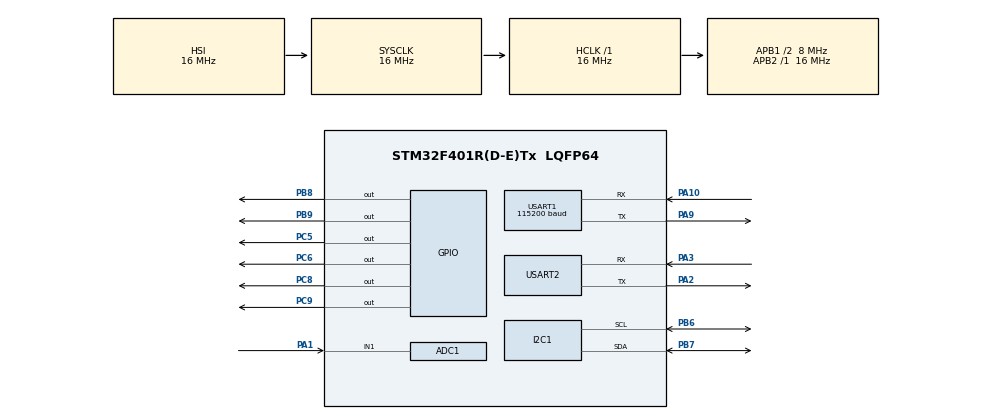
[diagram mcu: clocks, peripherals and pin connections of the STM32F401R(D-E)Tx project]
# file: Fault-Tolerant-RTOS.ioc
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ADC1.Channel-3\#ChannelRegularConversion=ADC_CHANNEL_1
ADC1.NbrOfConversionFlag=1
ADC1.Rank-3\#ChannelRegularConversion=1
ADC1.SamplingTime-3\#ChannelRegularConversion=ADC_SAMPLETIME_3CYCLES
ADC1.master=1
Dma.ADC1.0.Direction=DMA_PERIPH_TO_MEMORY
Dma.ADC1.0.FIFOMode=DMA_FIFOMODE_DISABLE
Dma.ADC1.0.Instance=DMA2_Stream0
Dma.ADC1.0.MemDataAlignment=DMA_MDATAALIGN_HALFWORD
Dma.ADC1.0.MemInc=DMA_MINC_DISABLE
Dma.ADC1.0.Mode=DMA_NORMAL
Dma.ADC1.0.PeriphDataAlignment=DMA_PDATAALIGN_HALFWORD
Dma.ADC1.0.PeriphInc=DMA_PINC_DISABLE
Dma.ADC1.0.Priority=DMA_PRIORITY_LOW
Dma.I2C1_RX.1.Direction=DMA_PERIPH_TO_MEMORY
Dma.I2C1_RX.1.FIFOMode=DMA_FIFOMODE_DISABLE
Dma.I2C1_RX.1.Instance=DMA1_Stream0
Dma.I2C1_RX.1.MemDataAlignment=DMA_MDATAALIGN_BYTE
Dma.I2C1_RX.1.MemInc=DMA_MINC_ENABLE
Dma.I2C1_RX.1.Mode=DMA_NORMAL
Dma.I2C1_RX.1.PeriphDataAlignment=DMA_PDATAALIGN_BYTE
Dma.I2C1_RX.1.PeriphInc=DMA_PINC_DISABLE
Dma.I2C1_RX.1.Priority=DMA_PRIORITY_LOW
Dma.Request0=ADC1
Dma.Request1=I2C1_RX
IWDG.Prescaler=IWDG_PRESCALER_8
Mcu.Family=STM32F4
Mcu.Name=STM32F401R(D-E)Tx
Mcu.Package=LQFP64
NVIC.DMA1_Stream0_IRQn=true\:7\:0\:true\:false\:true\:false\:true\:true
NVIC.DMA2_Stream0_IRQn=true\:9\:0\:true\:false\:true\:false\:true\:true
NVIC.PriorityGroup=NVIC_PRIORITYGROUP_4
NVIC.TIM5_IRQn=true\:0\:0\:false\:false\:true\:false\:true\:true
NVIC.TimeBase=TIM5_IRQn
NVIC.TimeBaseIP=TIM5
NVIC.USART1_IRQn=true\:9\:0\:true\:false\:true\:true\:true\:true
NVIC.USART2_IRQn=true\:6\:0\:true\:false\:true\:true\:true\:true
PA1.Signal=ADCx_IN1
PA10.Mode=Asynchronous
PA10.Signal=USART1_RX
PA2.Mode=Asynchronous
PA2.Signal=USART2_TX
PA3.Mode=Asynchronous
PA3.Signal=USART2_RX
PA9.Mode=Asynchronous
PA9.Signal=USART1_TX
PB6.Mode=I2C
PB6.Signal=I2C1_SCL
PB7.Mode=I2C
PB7.Signal=I2C1_SDA
PB8.Signal=GPIO_Output
PB9.Signal=GPIO_Output
PC5.Signal=GPIO_Output
PC6.Signal=GPIO_Output
PC8.Signal=GPIO_Output
PC9.Signal=GPIO_Output
ProjectManager.HeapSize=0x200
ProjectManager.StackSize=0x400
ProjectManager.TargetToolchain=STM32CubeIDE
RCC.AHBFreq_Value=16000000
RCC.APB1CLKDivider=RCC_HCLK_DIV2
RCC.APB1Freq_Value=8000000
RCC.APB1TimFreq_Value=16000000
RCC.APB2Freq_Value=16000000
RCC.APB2TimFreq_Value=16000000
RCC.CortexFreq_Value=16000000
RCC.HCLKFreq_Value=16000000
RCC.HSE_VALUE=8000000
RCC.HSI_VALUE=16000000
RCC.LSE_VALUE=32768
RCC.PLLN=336
RCC.PLLP=RCC_PLLP_DIV4
RCC.PLLQ=7
RCC.SYSCLKFreq_VALUE=16000000
RCC.VCOOutputFreq_Value=336000000
SH.ADCx_IN1.0=ADC1_IN1,IN1
USART1.BaudRate=115200
USART1.VirtualMode=VM_ASYNC
USART2.VirtualMode=VM_ASYNC
VP_IWDG_VS_IWDG.Mode=IWDG_Activate
VP_SYS_VS_tim5.Mode=TIM5
board=NUCLEO-F401RE

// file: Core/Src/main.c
/* USER CODE BEGIN Header */
/**
  ******************************************************************************
  * @file           : main.c
  * @brief          : Main program body
  ******************************************************************************
  * @attention
  *
  * Copyright (c) 2025 STMicroelectronics.
  * All rights reserved.
  *
  * This software is licensed under terms that can be found in the LICENSE file
  * in the root directory of this software component.
  * If no LICENSE file comes with this software, it is provided AS-IS.
  *
  ******************************************************************************
  */
/* USER CODE END Header */
#include "main.h"

/* USER CODE BEGIN Includes */
#include "FreeRTOS.h"
#include "task.h"
#include "queue.h"
#include "semphr.h"
#include "consumer.h"
#include "adc_sensor.h"
#include "mpu6050.h"
#include "uart_device.h"
#include "app_tasks.h"
#include "event_groups.h"
#include <string.h>
/* USER CODE END Includes */

ADC_HandleTypeDef hadc1;
DMA_HandleTypeDef hdma_adc1;

I2C_HandleTypeDef hi2c1;
DMA_HandleTypeDef hdma_i2c1_rx;

IWDG_HandleTypeDef hiwdg;

UART_HandleTypeDef huart1;
UART_HandleTypeDef huart2;

/* USER CODE BEGIN PV */
extern MPU6050_t imu;
extern uint8_t uart_rx_buffer[UART_FRAME_SIZE];
extern char *uart_tx_buffer;

TaskHandle_t I2CSensorTask;
TaskHandle_t ADCSensorTask;
TaskHandle_t UARTReceiverTask;
TaskHandle_t ConsumerTask;
TaskHandle_t FlowControlTask;
TaskHandle_t FaultHandlerTask;
TaskHandle_t WatchDogTask;

QueueHandle_t adc_sensor_queue;
QueueHandle_t i2c_sensor_queue;
QueueHandle_t uart_receiver_queue;
QueueHandle_t consumer_data_info_queue;

EventGroupHandle_t wdog_event_group;

SemaphoreHandle_t arbitration_mutex;
SemaphoreHandle_t i2c_stack_usage_mutex;
SemaphoreHandle_t adc_stack_usage_mutex;
SemaphoreHandle_t uart_stack_usage_mutex;
SemaphoreHandle_t consumer_stack_usage_mutex;
SemaphoreHandle_t flow_control_stack_usage_mutex;
SemaphoreHandle_t fault_handler_stack_usage_mutex;
SemaphoreHandle_t watchdog_stack_usage_mutex;
SemaphoreHandle_t usart2_mutex;

float consumer_raw_data[1000];
/* USER CODE END PV */

void SystemClock_Config(void);
static void MX_GPIO_Init(void);
static void MX_DMA_Init(void);
static void MX_USART2_UART_Init(void);
static void MX_ADC1_Init(void);
static void MX_USART1_UART_Init(void);
static void MX_I2C1_Init(void);
static void MX_IWDG_Init(void);

int main(void)
{

  /* USER CODE BEGIN 1 */
  BaseType_t create_status = 0;
  __HAL_DBGMCU_FREEZE_TIM5();
  /* USER CODE END 1 */

  /* MCU Configuration--------------------------------------------------------*/

  /* Reset of all peripherals, Initializes the Flash interface and the Systick. */
  HAL_Init();

  /* Configure the system clock */
  SystemClock_Config();

  /* Initialize all configured peripherals */
  MX_GPIO_Init();
  MX_DMA_Init();
  MX_USART2_UART_Init();
  MX_ADC1_Init();
  MX_USART1_UART_Init();
  MX_I2C1_Init();
  MX_IWDG_Init();
  /* USER CODE BEGIN 2 */
  adc_sensor_queue = xQueueCreate(ADC_QUEUE_SIZE, sizeof(uint16_t));
  i2c_sensor_queue = xQueueCreate(I2C_QUEUE_SIZE, sizeof(imu_data_t));
  uart_receiver_queue = xQueueCreate(UART_QUEUE_SIZE, UART_FRAME_SIZE);

  arbitration_mutex = xSemaphoreCreateMutex();
  i2c_stack_usage_mutex = xSemaphoreCreateMutex();
  adc_stack_usage_mutex = xSemaphoreCreateMutex();
  uart_stack_usage_mutex = xSemaphoreCreateMutex();
  consumer_stack_usage_mutex = xSemaphoreCreateMutex();
  flow_control_stack_usage_mutex = xSemaphoreCreateMutex();
  fault_handler_stack_usage_mutex = xSemaphoreCreateMutex();
  watchdog_stack_usage_mutex = xSemaphoreCreateMutex();

  wdog_event_group =  xEventGroupCreate();
  MPU6050_Init(&imu);

  create_status = xTaskCreate(ADCSensorTaskHandler, "ADC Sensor Task", ADC_SENSOR_TASK_STACK_SIZE, NULL, 6, &ADCSensorTask);
  configASSERT(create_status == pdPASS);

  create_status = xTaskCreate(I2CSensorTaskHandler, "I2C Sensor Task", I2C_SENSOR_TASK_STACK_SIZE, NULL,5, &I2CSensorTask);
  configASSERT(create_status == pdPASS);

  create_status = xTaskCreate(UARTReceiverTaskHandler, "UART Receiver Task", UART_RECEIVER_TASK_STACK_SIZE, NULL, 4, &UARTReceiverTask);
  configASSERT(create_status == pdPASS);

  create_status = xTaskCreate(ConsumerTaskHandler, "Consumer Task", CONSUMER_TASK_STACK_SIZE, NULL, 8, &ConsumerTask);
  configASSERT(create_status == pdPASS);

  create_status = xTaskCreate(FlowControlTaskHandler, "Control Task", FLOW_CONTROL_TASK_STACK_SIZE, NULL, 3, &FlowControlTask);
  configASSERT(create_status == pdPASS);

  create_status = xTaskCreate(WatchDogTaskHandler, "Watchdog Task", WATCHDOG_TASK_STACK_SIZE, NULL, 7, &WatchDogTask);
  configASSERT(create_status == pdPASS);

  create_status = xTaskCreate(FaultTaskHandler, "Fault Handler Task", FAULT_HANDLER_TASK_STACK_SIZE, NULL,9, &FaultHandlerTask);
  configASSERT(create_status == pdPASS);

  vTaskStartScheduler();
  /* USER CODE END 2 */

  /* Infinite loop */
  while (1)
  {

  }
}

void SystemClock_Config(void)
{
  RCC_OscInitTypeDef RCC_OscInitStruct = {0};
  RCC_ClkInitTypeDef RCC_ClkInitStruct = {0};

  /** Configure the main internal regulator output voltage
  */
  __HAL_RCC_PWR_CLK_ENABLE();
  __HAL_PWR_VOLTAGESCALING_CONFIG(PWR_REGULATOR_VOLTAGE_SCALE2);

  /** Initializes the RCC Oscillators according to the specified parameters
  * in the RCC_OscInitTypeDef structure.
  */
  RCC_OscInitStruct.OscillatorType = RCC_OSCILLATORTYPE_HSI|RCC_OSCILLATORTYPE_LSI;
  RCC_OscInitStruct.HSIState = RCC_HSI_ON;
  RCC_OscInitStruct.HSICalibrationValue = RCC_HSICALIBRATION_DEFAULT;
  RCC_OscInitStruct.LSIState = RCC_LSI_ON;
  RCC_OscInitStruct.PLL.PLLState = RCC_PLL_NONE;
  if (HAL_RCC_OscConfig(&RCC_OscInitStruct) != HAL_OK)
  {
    Error_Handler();
  }

  /** Initializes the CPU, AHB and APB buses clocks
  */
  RCC_ClkInitStruct.ClockType = RCC_CLOCKTYPE_HCLK|RCC_CLOCKTYPE_SYSCLK
                              |RCC_CLOCKTYPE_PCLK1|RCC_CLOCKTYPE_PCLK2;
  RCC_ClkInitStruct.SYSCLKSource = RCC_SYSCLKSOURCE_HSI;
  RCC_ClkInitStruct.AHBCLKDivider = RCC_SYSCLK_DIV1;
  RCC_ClkInitStruct.APB1CLKDivider = RCC_HCLK_DIV2;
  RCC_ClkInitStruct.APB2CLKDivider = RCC_HCLK_DIV1;

  if (HAL_RCC_ClockConfig(&RCC_ClkInitStruct, FLASH_LATENCY_0) != HAL_OK)
  {
    Error_Handler();
  }
}

static void MX_ADC1_Init(void)
{

  ADC_ChannelConfTypeDef sConfig = {0};

  /** Configure the global features of the ADC (Clock, Resolution, Data Alignment and number of conversion)
  */
  hadc1.Instance = ADC1;
  hadc1.Init.ClockPrescaler = ADC_CLOCK_SYNC_PCLK_DIV2;
  hadc1.Init.Resolution = ADC_RESOLUTION_12B;
  hadc1.Init.ScanConvMode = DISABLE;
  hadc1.Init.ContinuousConvMode = DISABLE;
  hadc1.Init.DiscontinuousConvMode = DISABLE;
  hadc1.Init.ExternalTrigConvEdge = ADC_EXTERNALTRIGCONVEDGE_NONE;
  hadc1.Init.ExternalTrigConv = ADC_SOFTWARE_START;
  hadc1.Init.DataAlign = ADC_DATAALIGN_RIGHT;
  hadc1.Init.NbrOfConversion = 1;
  hadc1.Init.DMAContinuousRequests = DISABLE;
  hadc1.Init.EOCSelection = ADC_EOC_SINGLE_CONV;
  if (HAL_ADC_Init(&hadc1) != HAL_OK)
  {
    Error_Handler();
  }

  /** Configure for the selected ADC regular channel its corresponding rank in the sequencer and its sample time.
  */
  sConfig.Channel = ADC_CHANNEL_1;
  sConfig.Rank = 1;
  sConfig.SamplingTime = ADC_SAMPLETIME_3CYCLES;
  if (HAL_ADC_ConfigChannel(&hadc1, &sConfig) != HAL_OK)
  {
    Error_Handler();
  }

}

static void MX_I2C1_Init(void)
{

  hi2c1.Instance = I2C1;
  hi2c1.Init.ClockSpeed = 100000;
  hi2c1.Init.DutyCycle = I2C_DUTYCYCLE_2;
  hi2c1.Init.OwnAddress1 = 0;
  hi2c1.Init.AddressingMode = I2C_ADDRESSINGMODE_7BIT;
  hi2c1.Init.DualAddressMode = I2C_DUALADDRESS_DISABLE;
  hi2c1.Init.OwnAddress2 = 0;
  hi2c1.Init.GeneralCallMode = I2C_GENERALCALL_DISABLE;
  hi2c1.Init.NoStretchMode = I2C_NOSTRETCH_DISABLE;
  if (HAL_I2C_Init(&hi2c1) != HAL_OK)
  {
    Error_Handler();
  }

}

static void MX_IWDG_Init(void)
{

  hiwdg.Instance = IWDG;
  hiwdg.Init.Prescaler = IWDG_PRESCALER_8;
  hiwdg.Init.Reload = 4095;
  if (HAL_IWDG_Init(&hiwdg) != HAL_OK)
  {
    Error_Handler();
  }

}

static void MX_USART1_UART_Init(void)
{

  huart1.Instance = USART1;
  huart1.Init.BaudRate = 115200;
  huart1.Init.WordLength = UART_WORDLENGTH_8B;
  huart1.Init.StopBits = UART_STOPBITS_1;
  huart1.Init.Parity = UART_PARITY_NONE;
  huart1.Init.Mode = UART_MODE_TX_RX;
  huart1.Init.HwFlowCtl = UART_HWCONTROL_NONE;
  huart1.Init.OverSampling = UART_OVERSAMPLING_16;
  if (HAL_UART_Init(&huart1) != HAL_OK)
  {
    Error_Handler();
  }

}

static void MX_USART2_UART_Init(void)
{

  huart2.Instance = USART2;
  huart2.Init.BaudRate = 115200;
  huart2.Init.WordLength = UART_WORDLENGTH_8B;
  huart2.Init.StopBits = UART_STOPBITS_1;
  huart2.Init.Parity = UART_PARITY_NONE;
  huart2.Init.Mode = UART_MODE_TX_RX;
  huart2.Init.HwFlowCtl = UART_HWCONTROL_NONE;
  huart2.Init.OverSampling = UART_OVERSAMPLING_16;
  if (HAL_UART_Init(&huart2) != HAL_OK)
  {
    Error_Handler();
  }

}

static void MX_DMA_Init(void)
{

  /* DMA controller clock enable */
  __HAL_RCC_DMA2_CLK_ENABLE();
  __HAL_RCC_DMA1_CLK_ENABLE();

  /* DMA interrupt init */
  /* DMA1_Stream0_IRQn interrupt configuration */
  HAL_NVIC_SetPriority(DMA1_Stream0_IRQn, 7, 0);
  HAL_NVIC_EnableIRQ(DMA1_Stream0_IRQn);
  /* DMA2_Stream0_IRQn interrupt configuration */
  HAL_NVIC_SetPriority(DMA2_Stream0_IRQn, 9, 0);
  HAL_NVIC_EnableIRQ(DMA2_Stream0_IRQn);

}

static void MX_GPIO_Init(void)
{
  GPIO_InitTypeDef GPIO_InitStruct = {0};

  /* GPIO Ports Clock Enable */
  __HAL_RCC_GPIOA_CLK_ENABLE();
  __HAL_RCC_GPIOC_CLK_ENABLE();
  __HAL_RCC_GPIOB_CLK_ENABLE();

  /*Configure GPIO pin Output Level */
  HAL_GPIO_WritePin(GPIOC, GPIO_PIN_5|GPIO_PIN_6|GPIO_PIN_8|GPIO_PIN_9, GPIO_PIN_RESET);

  /*Configure GPIO pin Output Level */
  HAL_GPIO_WritePin(GPIOB, GPIO_PIN_8|GPIO_PIN_9, GPIO_PIN_RESET);

  /*Configure GPIO pins : PC5 PC6 PC8 PC9 */
  GPIO_InitStruct.Pin = GPIO_PIN_5|GPIO_PIN_6|GPIO_PIN_8|GPIO_PIN_9;
  GPIO_InitStruct.Mode = GPIO_MODE_OUTPUT_PP;
  GPIO_InitStruct.Pull = GPIO_NOPULL;
  GPIO_InitStruct.Speed = GPIO_SPEED_FREQ_LOW;
  HAL_GPIO_Init(GPIOC, &GPIO_InitStruct);

  /*Configure GPIO pins : PB8 PB9 */
  GPIO_InitStruct.Pin = GPIO_PIN_8|GPIO_PIN_9;
  GPIO_InitStruct.Mode = GPIO_MODE_OUTPUT_PP;
  GPIO_InitStruct.Pull = GPIO_NOPULL;
  GPIO_InitStruct.Speed = GPIO_SPEED_FREQ_LOW;
  HAL_GPIO_Init(GPIOB, &GPIO_InitStruct);

}

/* USER CODE BEGIN 4 */
void HAL_ADC_ConvCpltCallback(ADC_HandleTypeDef* hadc){
    // conversion complete and sent to the lum_value variable
	BaseType_t xHigherPriorityTaskWoken = pdFALSE;
	xTaskNotifyFromISR(ADCSensorTask, 0, eNoAction, &xHigherPriorityTaskWoken);
	portYIELD_FROM_ISR( xHigherPriorityTaskWoken);
}

void HAL_UART_RxCpltCallback(UART_HandleTypeDef *huart)
{
    BaseType_t xHigherPriorityTaskWoken = pdFALSE;
    xTaskNotifyFromISR(UARTReceiverTask, 0, eNoAction, &xHigherPriorityTaskWoken);
    portYIELD_FROM_ISR(xHigherPriorityTaskWoken);  // ADD THIS!
}

void HAL_I2C_MemRxCpltCallback(I2C_HandleTypeDef *hi2c){
	BaseType_t xHigherPriorityTaskWoken = pdFALSE;
	vTaskNotifyGiveFromISR(I2CSensorTask, &xHigherPriorityTaskWoken);
	portYIELD_FROM_ISR( xHigherPriorityTaskWoken );
}

void HAL_UART_TxCpltCallback(UART_HandleTypeDef *huart){
	BaseType_t xHigherPriorityTaskWoken = pdFALSE;
	xTaskNotifyFromISR(ConsumerTask, 0, eNoAction, &xHigherPriorityTaskWoken);
	portYIELD_FROM_ISR(xHigherPriorityTaskWoken);
}
/* USER CODE END 4 */

void HAL_TIM_PeriodElapsedCallback(TIM_HandleTypeDef *htim)
{
  if (htim->Instance == TIM5)
  {
    HAL_IncTick();
  }
}

void Error_Handler(void)
{
  __disable_irq();
  while (1)
  {
  }
}
